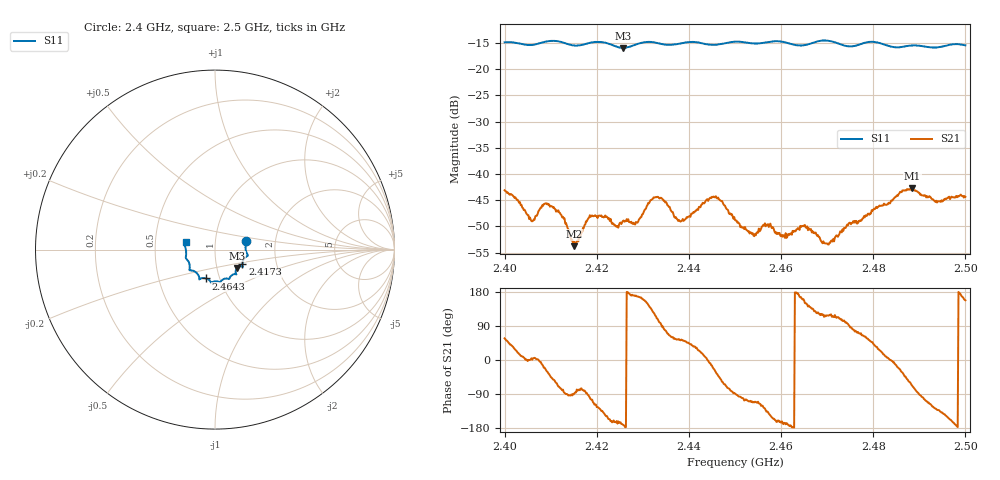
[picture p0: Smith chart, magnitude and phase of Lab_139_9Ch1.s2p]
# Hz S RI R 50
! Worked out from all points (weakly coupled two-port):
!   601 points, 2.4 GHz to 2.5 GHz, reference 50 ohm
!   highest |S21| = -42.67 dB at 2.4885 GHz (marker M1); lowest = -53.8 dB at 2.415 GHz (marker M2)
!   lowest |S11| = -15.9 dB at 2.4257 GHz (marker M3), VSWR 1.38, Z = 62.4 - j13.1 ohm
!   |S11| at or under -10 dB: start of sweep to end of sweep
!   S12 and S22 are empty: the file has one direction only
!   S11 on the Smith chart (normalised r, x): 2.4 GHz: 1.41, +0.14; 2.4173 GHz: 1.34, -0.23; 2.4643 GHz: 0.86, -0.28; 2.5 GHz: 0.72, +0.06
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2.4e9  0.1735 0.0496  0.00378 0.00587  0 0  0 0
2.405833e9  0.1703 0.00305  0.00354 0.000276  0 0  0 0
2.408667e9  0.1806 -0.0265  0.00486 -0.00179  0 0  0 0
2.4105e9  0.1836 -0.0334  0.00299 -0.00372  0 0  0 0
2.415e9  0.1589 -0.0558  -2.82e-05 -0.00204  0 0  0 0
2.416667e9  0.1529 -0.0749  0.000712 -0.00262  0 0  0 0
2.417333e9  0.1522 -0.0823  0.00053 -0.0032  0 0  0 0
2.419e9  0.1533 -0.0949  -0.00103 -0.00388  0 0  0 0
2.425667e9  0.1226 -0.1025  -0.00351 -0.000579  0 0  0 0
2.428667e9  0.1155 -0.1292  -0.00338 0.000717  0 0  0 0
2.433333e9  0.1126 -0.1365  -0.00158 0.00582  0 0  0 0
2.438e9  0.083 -0.1546  0.00215 0.00285  0 0  0 0
2.4455e9  0.0511 -0.163  0.00548 -0.00254  0 0  0 0
2.45e9  0.0296 -0.1809  9.29e-05 -0.00363  0 0  0 0
2.454e9  0.00993 -0.1759  -0.000921 -0.00241  0 0  0 0
2.464333e9  -0.0502 -0.1607  -0.00302 0.000762  0 0  0 0
2.466667e9  -0.0764 -0.16  -0.00197 0.00194  0 0  0 0
2.470167e9  -0.0874 -0.1656  -0.000979 0.00189  0 0  0 0
2.483333e9  -0.1408 -0.0895  0.0053 0.000357  0 0  0 0
2.4885e9  -0.1619 -0.0485  0.00269 -0.00684  0 0  0 0
2.493833e9  -0.1615 -0.00354  -0.00353 -0.004  0 0  0 0
2.5e9  -0.1636 0.0418  -0.00559 0.00232  0 0  0 0
